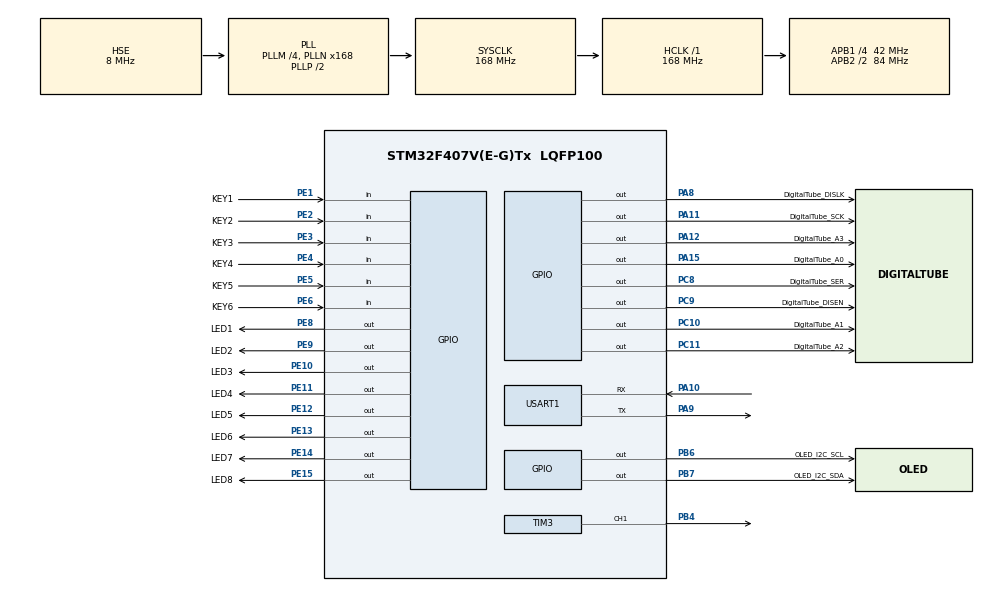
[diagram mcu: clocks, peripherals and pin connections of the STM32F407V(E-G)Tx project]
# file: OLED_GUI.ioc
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Dma.Request0=USART1_RX
Dma.USART1_RX.0.Direction=DMA_PERIPH_TO_MEMORY
Dma.USART1_RX.0.FIFOMode=DMA_FIFOMODE_DISABLE
Dma.USART1_RX.0.Instance=DMA2_Stream2
Dma.USART1_RX.0.MemDataAlignment=DMA_MDATAALIGN_BYTE
Dma.USART1_RX.0.MemInc=DMA_MINC_ENABLE
Dma.USART1_RX.0.Mode=DMA_NORMAL
Dma.USART1_RX.0.PeriphDataAlignment=DMA_PDATAALIGN_BYTE
Dma.USART1_RX.0.PeriphInc=DMA_PINC_DISABLE
Dma.USART1_RX.0.Priority=DMA_PRIORITY_LOW
FREERTOS.Tasks01=ledTask,24,256,StartLedTask,Default,NULL,Dynamic,NULL,NULL;keyTask,24,256,StartKeyTask,Default,NULL,Dynamic,NULL,NULL;beepTask,24,256,StartBeepTask,Default,NULL,Dynamic,NULL,NULL;digitaTubeTask,24,256,StartDigitaTubeTask,Default,NULL,Dynamic,NULL,NULL;GUITask,8,256,StartGUITask,Default,NULL,Dynamic,NULL,NULL;UartTask,24,256,StartUartTask,Default,NULL,Dynamic,NULL,NULL
FREERTOS.configENABLE_FPU=0
Mcu.Family=STM32F4
Mcu.Name=STM32F407V(E-G)Tx
Mcu.Package=LQFP100
NVIC.DMA2_Stream2_IRQn=true\:0\:0\:false\:false\:true\:true\:false\:true
NVIC.PriorityGroup=NVIC_PRIORITYGROUP_4
NVIC.TIM8_TRG_COM_TIM14_IRQn=true\:0\:0\:false\:false\:true\:false\:false\:true
NVIC.TimeBase=TIM8_TRG_COM_TIM14_IRQn
NVIC.TimeBaseIP=TIM14
NVIC.USART1_IRQn=true\:5\:0\:true\:false\:true\:false\:true\:true
PA10.Mode=Asynchronous
PA10.Signal=USART1_RX
PA11.GPIO_Label=DigitalTube_SCK
PA11.Signal=GPIO_Output
PA12.GPIO_Label=DigitalTube_A3
PA12.Signal=GPIO_Output
PA13.Mode=Serial_Wire
PA13.Signal=SYS_JTMS-SWDIO
PA14.Mode=Serial_Wire
PA14.Signal=SYS_JTCK-SWCLK
PA15.GPIO_Label=DigitalTube_A0
PA15.Signal=GPIO_Output
PA8.GPIO_Label=DigitalTube_DISLK
PA8.Signal=GPIO_Output
PA9.Mode=Asynchronous
PA9.Signal=USART1_TX
PB4.Signal=S_TIM3_CH1
PB6.GPIO_Label=OLED_I2C_SCL
PB6.Signal=GPIO_Output
PB7.GPIO_Label=OLED_I2C_SDA
PB7.Signal=GPIO_Output
PC10.GPIO_Label=DigitalTube_A1
PC10.Signal=GPIO_Output
PC11.GPIO_Label=DigitalTube_A2
PC11.Signal=GPIO_Output
PC8.GPIO_Label=DigitalTube_SER
PC8.Signal=GPIO_Output
PC9.GPIO_Label=DigitalTube_DISEN
PC9.Signal=GPIO_Output
PE1.GPIO_Label=KEY1
PE1.GPIO_PuPd=GPIO_PULLUP
PE1.Signal=GPIO_Input
PE10.GPIO_Label=LED3
PE10.PinState=GPIO_PIN_SET
PE10.Signal=GPIO_Output
PE11.GPIO_Label=LED4
PE11.PinState=GPIO_PIN_SET
PE11.Signal=GPIO_Output
PE12.GPIO_Label=LED5
PE12.PinState=GPIO_PIN_SET
PE12.Signal=GPIO_Output
PE13.GPIO_Label=LED6
PE13.PinState=GPIO_PIN_SET
PE13.Signal=GPIO_Output
PE14.GPIO_Label=LED7
PE14.PinState=GPIO_PIN_SET
PE14.Signal=GPIO_Output
PE15.GPIO_Label=LED8
PE15.PinState=GPIO_PIN_SET
PE15.Signal=GPIO_Output
PE2.GPIO_Label=KEY2
PE2.GPIO_PuPd=GPIO_PULLUP
PE2.Signal=GPIO_Input
PE3.GPIO_Label=KEY3
PE3.GPIO_PuPd=GPIO_PULLUP
PE3.Signal=GPIO_Input
PE4.GPIO_Label=KEY4
PE4.GPIO_PuPd=GPIO_PULLUP
PE4.Signal=GPIO_Input
PE5.GPIO_Label=KEY5
PE5.GPIO_PuPd=GPIO_PULLDOWN
PE5.Signal=GPIO_Input
PE6.GPIO_Label=KEY6
PE6.GPIO_PuPd=GPIO_PULLDOWN
PE6.Signal=GPIO_Input
PE8.GPIO_Label=LED1
PE8.PinState=GPIO_PIN_SET
PE8.Signal=GPIO_Output
PE9.GPIO_Label=LED2
PE9.PinState=GPIO_PIN_SET
PE9.Signal=GPIO_Output
PH0-OSC_IN.Mode=HSE-External-Oscillator
PH0-OSC_IN.Signal=RCC_OSC_IN
PH1-OSC_OUT.Mode=HSE-External-Oscillator
PH1-OSC_OUT.Signal=RCC_OSC_OUT
ProjectManager.HeapSize=0x200
ProjectManager.StackSize=0x400
ProjectManager.TargetToolchain=SW4STM32
RCC.48MHZClocksFreq_Value=84000000
RCC.AHBFreq_Value=168000000
RCC.APB1CLKDivider=RCC_HCLK_DIV4
RCC.APB1Freq_Value=42000000
RCC.APB1TimFreq_Value=84000000
RCC.APB2CLKDivider=RCC_HCLK_DIV2
RCC.APB2Freq_Value=84000000
RCC.APB2TimFreq_Value=168000000
RCC.CortexFreq_Value=168000000
RCC.HCLKFreq_Value=168000000
RCC.HSE_VALUE=8000000
RCC.HSI_VALUE=16000000
RCC.LSE_VALUE=32768
RCC.PLLM=4
RCC.PLLN=168
RCC.PLLSourceVirtual=RCC_PLLSOURCE_HSE
RCC.SYSCLKFreq_VALUE=168000000
RCC.SYSCLKSource=RCC_SYSCLKSOURCE_PLLCLK
RCC.VCOOutputFreq_Value=336000000
SH.S_TIM3_CH1.0=TIM3_CH1,PWM Generation1 CH1
TIM3.AutoReloadPreload=TIM_AUTORELOAD_PRELOAD_ENABLE
TIM3.Channel-PWM\ Generation1\ CH1=TIM_CHANNEL_1
TIM3.OCPolarity_1=TIM_OCPOLARITY_LOW
TIM3.Period=299
TIM3.Prescaler=83
TIM3.Pulse-PWM\ Generation1\ CH1=200
USART1.VirtualMode=VM_ASYNC
VP_FREERTOS_VS_CMSIS_V2.Mode=CMSIS_V2
VP_SYS_VS_tim14.Mode=TIM14
board=custom

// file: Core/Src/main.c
/* USER CODE BEGIN Header */
/**
  ******************************************************************************
  * @file           : main.c
  * @brief          : Main program body
  ******************************************************************************
  * @attention
  *
  * <h2><center>&copy; Copyright (c) 2020 STMicroelectronics.
  * All rights reserved.</center></h2>
  *
  * This software component is licensed by ST under BSD 3-Clause license,
  * the "License"; You may not use this file except in compliance with the
  * License. You may obtain a copy of the License at:
  *                        opensource.org/licenses/BSD-3-Clause
  *
  ******************************************************************************
  */
/* USER CODE END Header */
#include "main.h"
#include "cmsis_os.h"
#include "dma.h"
#include "tim.h"
#include "usart.h"
#include "gpio.h"

/* USER CODE BEGIN Includes */
#include <retarget.h>
#include "DigitalTube.h"
/* USER CODE END Includes */

void SystemClock_Config(void);
void MX_FREERTOS_Init(void);

int main(void)
{

  /* MCU Configuration--------------------------------------------------------*/

  /* Reset of all peripherals, Initializes the Flash interface and the Systick. */
  HAL_Init();

  /* Configure the system clock */
  SystemClock_Config();

  /* Initialize all configured peripherals */
  MX_GPIO_Init();
  MX_DMA_Init();
  MX_USART1_UART_Init();
  MX_TIM3_Init();
  /* USER CODE BEGIN 2 */
    RetargetInit(&huart1);
    Write595(0,0,0);

  /* USER CODE END 2 */

  /* Init scheduler */
  osKernelInitialize();  /* Call init function for freertos objects (in freertos.c) */
  MX_FREERTOS_Init();
  /* Start scheduler */
  osKernelStart();

  /* We should never get here as control is now taken by the scheduler */
  /* Infinite loop */
  while (1)
  {

  }
}

void SystemClock_Config(void)
{
  RCC_OscInitTypeDef RCC_OscInitStruct = {0};
  RCC_ClkInitTypeDef RCC_ClkInitStruct = {0};

  /** Configure the main internal regulator output voltage
  */
  __HAL_RCC_PWR_CLK_ENABLE();
  __HAL_PWR_VOLTAGESCALING_CONFIG(PWR_REGULATOR_VOLTAGE_SCALE1);
  /** Initializes the RCC Oscillators according to the specified parameters
  * in the RCC_OscInitTypeDef structure.
  */
  RCC_OscInitStruct.OscillatorType = RCC_OSCILLATORTYPE_HSE;
  RCC_OscInitStruct.HSEState = RCC_HSE_ON;
  RCC_OscInitStruct.PLL.PLLState = RCC_PLL_ON;
  RCC_OscInitStruct.PLL.PLLSource = RCC_PLLSOURCE_HSE;
  RCC_OscInitStruct.PLL.PLLM = 4;
  RCC_OscInitStruct.PLL.PLLN = 168;
  RCC_OscInitStruct.PLL.PLLP = RCC_PLLP_DIV2;
  RCC_OscInitStruct.PLL.PLLQ = 4;
  if (HAL_RCC_OscConfig(&RCC_OscInitStruct) != HAL_OK)
  {
    Error_Handler();
  }
  /** Initializes the CPU, AHB and APB buses clocks
  */
  RCC_ClkInitStruct.ClockType = RCC_CLOCKTYPE_HCLK|RCC_CLOCKTYPE_SYSCLK
                              |RCC_CLOCKTYPE_PCLK1|RCC_CLOCKTYPE_PCLK2;
  RCC_ClkInitStruct.SYSCLKSource = RCC_SYSCLKSOURCE_PLLCLK;
  RCC_ClkInitStruct.AHBCLKDivider = RCC_SYSCLK_DIV1;
  RCC_ClkInitStruct.APB1CLKDivider = RCC_HCLK_DIV4;
  RCC_ClkInitStruct.APB2CLKDivider = RCC_HCLK_DIV2;

  if (HAL_RCC_ClockConfig(&RCC_ClkInitStruct, FLASH_LATENCY_5) != HAL_OK)
  {
    Error_Handler();
  }
}

void HAL_TIM_PeriodElapsedCallback(TIM_HandleTypeDef *htim)
{
  if (htim->Instance == TIM14) {
    HAL_IncTick();
  }
}

void Error_Handler(void)
{
}

/************************ (C) COPYRIGHT STMicroelectronics *****END OF FILE****/

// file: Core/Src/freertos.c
/* USER CODE BEGIN Header */
/**
  ******************************************************************************
  * File Name          : freertos.c
  * Description        : Code for freertos applications
  ******************************************************************************
  * @attention
  *
  * <h2><center>&copy; Copyright (c) 2020 STMicroelectronics.
  * All rights reserved.</center></h2>
  *
  * This software component is licensed by ST under Ultimate Liberty license
  * SLA0044, the "License"; You may not use this file except in compliance with
  * the License. You may obtain a copy of the License at:
  *                             www.st.com/SLA0044
  *
  ******************************************************************************
  */
/* USER CODE END Header */

#include "FreeRTOS.h"
#include "task.h"
#include "main.h"
#include "cmsis_os.h"

/* USER CODE BEGIN Includes */
#include <stdio.h>
#include <stdbool.h>
#include <string.h>
#include "tim.h"
#include "LED.h"
#include "DigitalTube.h"
#include "GUI.h"
#include "usart.h"
/* USER CODE END Includes */

/* USER CODE BEGIN PTD */
extern GUI_CONST_STORAGE GUI_BITMAP bmCN_bilibiliB;
extern GUI_FLASH const GUI_FONT GUI_FontHZ_SimSun_12;
extern uint32_t recv_len;//接收数据长度
extern uint8_t dma_buf[MAX_BUF_LEN];//DMA接收缓存
/* USER CODE END PTD */

/* USER CODE BEGIN Variables */
uint8_t led_id = 1;
bool led_switch = true;
uint32_t led_control_time = 200;
uint8_t key_state = 0;
uint8_t key_buf = 0;
uint8_t beep_switch = 0;
int beep_time;
char data_buf[13][21];//要显示的数据
uint8_t data_page_max = 0;
uint8_t data_page = 0;
/* USER CODE END Variables */
/* Definitions for ledTask */
osThreadId_t ledTaskHandle;
const osThreadAttr_t ledTask_attributes = {
  .name = "ledTask",
  .priority = (osPriority_t) osPriorityNormal,
  .stack_size = 256 * 4
};
/* Definitions for keyTask */
osThreadId_t keyTaskHandle;
const osThreadAttr_t keyTask_attributes = {
  .name = "keyTask",
  .priority = (osPriority_t) osPriorityNormal,
  .stack_size = 256 * 4
};
/* Definitions for beepTask */
osThreadId_t beepTaskHandle;
const osThreadAttr_t beepTask_attributes = {
  .name = "beepTask",
  .priority = (osPriority_t) osPriorityNormal,
  .stack_size = 256 * 4
};
/* Definitions for digitaTubeTask */
osThreadId_t digitaTubeTaskHandle;
const osThreadAttr_t digitaTubeTask_attributes = {
  .name = "digitaTubeTask",
  .priority = (osPriority_t) osPriorityNormal,
  .stack_size = 256 * 4
};
/* Definitions for GUITask */
osThreadId_t GUITaskHandle;
const osThreadAttr_t GUITask_attributes = {
  .name = "GUITask",
  .priority = (osPriority_t) osPriorityLow,
  .stack_size = 256 * 4
};
/* Definitions for UartTask */
osThreadId_t UartTaskHandle;
const osThreadAttr_t UartTask_attributes = {
  .name = "UartTask",
  .priority = (osPriority_t) osPriorityNormal,
  .stack_size = 256 * 4
};

void StartLedTask(void *argument);
void StartKeyTask(void *argument);
void StartBeepTask(void *argument);
void StartDigitaTubeTask(void *argument);
void StartGUITask(void *argument);
void StartUartTask(void *argument);

void MX_FREERTOS_Init(void); /* (MISRA C 2004 rule 8.1) */

void MX_FREERTOS_Init(void) {

  /* Create the thread(s) */
  /* creation of ledTask */
  ledTaskHandle = osThreadNew(StartLedTask, NULL, &ledTask_attributes);

  /* creation of keyTask */
  keyTaskHandle = osThreadNew(StartKeyTask, NULL, &keyTask_attributes);

  /* creation of beepTask */
  beepTaskHandle = osThreadNew(StartBeepTask, NULL, &beepTask_attributes);

  /* creation of digitaTubeTask */
  digitaTubeTaskHandle = osThreadNew(StartDigitaTubeTask, NULL, &digitaTubeTask_attributes);

  /* creation of GUITask */
  GUITaskHandle = osThreadNew(StartGUITask, NULL, &GUITask_attributes);

  /* creation of UartTask */
  UartTaskHandle = osThreadNew(StartUartTask, NULL, &UartTask_attributes);

}

void StartLedTask(void *argument)
{
  /* USER CODE BEGIN StartLedTask */
  /* Infinite loop */
  for(;;)
  {
      if (led_switch){
          turnoffLED();
          selectLED(led_id);
          if(led_id==8){
              led_id = 1;
          }
          else{
              led_id++;
          }
          osDelay(led_control_time);
      }
      else {
          osDelay(1);
      }
  }
  /* USER CODE END StartLedTask */
}

void StartKeyTask(void *argument)
{
  /* USER CODE BEGIN StartKeyTask */
  /* Infinite loop */
  for(;;)
  {
      //扫描按键
      key_state = 0;
      if (HAL_GPIO_ReadPin(KEY1_GPIO_Port,KEY1_Pin)==GPIO_PIN_RESET){
          osDelay(10);
          if(HAL_GPIO_ReadPin(KEY1_GPIO_Port,KEY1_Pin)==GPIO_PIN_RESET)
          {
              key_state = 1;
          }
          while(HAL_GPIO_ReadPin(KEY1_GPIO_Port,KEY1_Pin)==GPIO_PIN_RESET)
          {
              osDelay(1);
          }
      }
      else if (HAL_GPIO_ReadPin(KEY2_GPIO_Port,KEY2_Pin)==GPIO_PIN_RESET){
          osDelay(10);
          if(HAL_GPIO_ReadPin(KEY2_GPIO_Port,KEY2_Pin)==GPIO_PIN_RESET)
          {
              key_state = 2;
          }
          while(HAL_GPIO_ReadPin(KEY2_GPIO_Port,KEY2_Pin)==GPIO_PIN_RESET)
          {
              osDelay(1);
          }
      }
      else if (HAL_GPIO_ReadPin(KEY3_GPIO_Port,KEY3_Pin)==GPIO_PIN_RESET){
          osDelay(10);
          if(HAL_GPIO_ReadPin(KEY3_GPIO_Port,KEY3_Pin)==GPIO_PIN_RESET)
          {
              key_state = 3;
          }
          while(HAL_GPIO_ReadPin(KEY3_GPIO_Port,KEY3_Pin)==GPIO_PIN_RESET)
          {
              osDelay(1);
          }
      }
      else if (HAL_GPIO_ReadPin(KEY4_GPIO_Port,KEY4_Pin)==GPIO_PIN_RESET){
          osDelay(10);
          if(HAL_GPIO_ReadPin(KEY4_GPIO_Port,KEY4_Pin)==GPIO_PIN_RESET)
          {
              key_state = 4;
          }
          while(HAL_GPIO_ReadPin(KEY4_GPIO_Port,KEY4_Pin)==GPIO_PIN_RESET)
          {
              osDelay(1);
          }
      }
      else if (HAL_GPIO_ReadPin(KEY5_GPIO_Port,KEY5_Pin)==GPIO_PIN_SET){
          osDelay(10);
          if(HAL_GPIO_ReadPin(KEY5_GPIO_Port,KEY5_Pin)==GPIO_PIN_SET)
          {
              key_state = 5;
          }
          while(HAL_GPIO_ReadPin(KEY5_GPIO_Port,KEY5_Pin)==GPIO_PIN_SET)
          {
              osDelay(1);
          }
      }
      else if (HAL_GPIO_ReadPin(KEY6_GPIO_Port,KEY6_Pin)==GPIO_PIN_SET){
          osDelay(10);
          if(HAL_GPIO_ReadPin(KEY6_GPIO_Port,KEY6_Pin)==GPIO_PIN_SET)
          {
              key_state = 6;
          }
          while(HAL_GPIO_ReadPin(KEY6_GPIO_Port,KEY6_Pin)==GPIO_PIN_SET)
          {
              osDelay(1);
          }
      }
      //按键触发控制
      switch (key_state) {
          case 1:
              key_buf = 1;
              break;

          case 2:
              key_buf = 2;
              break;

          case 3:
              key_buf = 3;
              break;

          case 4:
              key_buf = 4;
              break;

          case 5:
              key_buf = 5;
              break;

          case 6:
              key_buf = 6;
              break;

          default:
              break;
      }

      osDelay(1);
  }
  /* USER CODE END StartKeyTask */
}

void StartBeepTask(void *argument)
{
  /* USER CODE BEGIN StartBeepTask */
  uint32_t beep_time_tick = 0;
  /* Infinite loop */
  for(;;)
  {
      if (beep_switch == 1) {
          HAL_TIM_PWM_Start(&htim3, TIM_CHANNEL_1);//使能输出
          beep_time_tick = osKernelGetTickCount();
          beep_switch = 0;
      }
      else if (beep_switch == 2){
          HAL_TIM_PWM_Stop(&htim3, TIM_CHANNEL_1);//失能输出
          beep_time = osKernelGetTickCount() - beep_time_tick;
          beep_time_tick = 0;
          beep_switch = 0;
      }

      osDelay(1);
  }
  /* USER CODE END StartBeepTask */
}

void StartDigitaTubeTask(void *argument)
{
  /* USER CODE BEGIN StartDigitaTubeTask */
  /* Infinite loop */
  for(;;)
  {
      Write595(0,key_buf,0);
      osDelay(1);
  }
  /* USER CODE END StartDigitaTubeTask */
}

void StartGUITask(void *argument)
{
  /* USER CODE BEGIN StartGUITask */
    uint8_t menu;
    uint16_t beep_tune = 300;
    char beep_time_show[20];

    GUI_Init();
    GUI_DrawBitmap(&bmCN_bilibiliB, 0, 0);
    GUI_Update();//刷新显示
    osDelay(2000);
    GUI_Clear();

    GUI_SetFont(&GUI_FontHZ_SimSun_12);
    GUI_DispString("学号姓名界面\n");
    GUI_DispStringAt("学号：18042209\n", 0, 20);
    GUI_DispString("姓名：陈俊煜\n");
    GUI_DispString("课程：嵌入式系统实验\n");
    GUI_Update();//刷新显示
    osDelay(2000);
    menu = 2;//进入主菜单
  /* Infinite loop */
  for(;;)
  {
      if (menu == 1) {//学号姓名显示
          GUI_Clear();
          GUI_DispStringAt("学号姓名界面\n", 0, 0);
          GUI_DispStringAt("学号：18042209\n", 0, 20);
          GUI_DispString("姓名：陈俊煜\n");
          GUI_DispString("课程：嵌入式系统实验\n");
          GUI_Update();//刷新显示
          osDelay(2000);
          menu = 2;//进入主菜单
      }
      if (menu == 2) {//主菜单下
          GUI_Clear();
          GUI_DispStringAt("主菜单\n", 0, 0);
          GUI_DispStringAt("SW1:流水灯测试\n", 0, 16);
          GUI_DispString("SW2:按键测试\n");
          GUI_DispString("SW3:蜂鸣器测试\n");
          GUI_DispString("SW4:串口数据显示\n");
          GUI_Update();//刷新显示

          switch (key_buf) {
              case 1://流水灯测试
                  menu = 3;
                  key_buf = 0;
                  break;

              case 2://按键测试
                  menu = 4;
                  key_buf = 0;
                  break;

              case 3://蜂鸣器测试
                  menu = 5;
                  key_buf = 0;
                  break;

              case 4://串口数据显示功能
                  menu = 6;
                  key_buf = 0;
                  data_page = 1;
                  break;

              default:
                  break;
          }
      }
      if (menu == 3) {//流水灯测试功能
          GUI_Clear();
          GUI_DispStringAt("流水灯测试\n", 0, 0);
          GUI_DispStringAt("SW5:返回学号姓名界面\n", 0, 40);
          GUI_DispString("SW6:返回主菜单\n");
          GUI_DispStringAt("LED:\n", 0, 20);
          GUI_FillRect(30 + (led_id - 1) * 8, 23, 30 + led_id * 8, 30);
          GUI_Update();//刷新显示

          switch (key_buf) {
              case 5://返回学号姓名界面
                  menu = 1;
                  key_buf = 0;
                  break;

              case 6://返回主菜单
                  menu = 2;
                  key_buf = 0;
                  break;

              default:
                  break;
          }
      }
      if (menu == 4) {//按键测试功能
          GUI_Clear();
          GUI_DispStringAt("按键测试\n", 0, 0);
          GUI_DispStringAt("SW5:返回学号姓名界面\n", 0, 40);
          GUI_DispString("SW6:返回主菜单\n");
          GUI_DispStringAt("KEY: 1 2 3 4 5 6\n", 0, 15);
          if(key_buf != 0){
              GUI_FillCircle(32 + 12 * (key_buf - 1), 31, 3);
          }
          GUI_Update();//刷新显示

          switch (key_buf) {
              case 5://返回学号姓名界面
                  menu = 1;
                  key_buf = 0;
                  break;

              case 6://返回主菜单
                  menu = 2;
                  key_buf = 0;
                  break;

              default:
                  break;
          }
      }
      if (menu == 5) {//蜂鸣器测试功能
          GUI_Clear();
          GUI_DispStringAt("蜂鸣器测试\n", 0, 0);
          GUI_DispStringAt("SW5:返回学号姓名界面\n", 0, 40);
          GUI_DispString("SW6:返回主菜单\n");
          GUI_DispStringAt("BEEP Time:", 0, 15);
          sprintf(beep_time_show, "%d", beep_time);
          GUI_DispStringAt(beep_time_show, 65, 15);
          GUI_DispStringAt("ms\n", 100, 15);
          GUI_Update();//刷新显示

          switch (key_buf) {
              case 1://启动蜂鸣器
                  beep_switch = 1;
                  key_buf = 0;
                  break;

              case 2://停止蜂鸣器
                  beep_switch = 2;
                  key_buf = 0;
                  break;

              case 3://调节音调 变低沉
                  if (beep_tune < 600) {
                      beep_tune += 10;
                  }
                  __HAL_TIM_SET_AUTORELOAD(&htim3, beep_tune);
                  key_buf = 0;
                  break;

              case 4://调节音调 变尖锐
                  if (beep_tune > 250) {
                      beep_tune -= 10;
                  }
                  __HAL_TIM_SET_AUTORELOAD(&htim3, beep_tune);
                  key_buf = 0;
                  break;

              case 5://返回学号姓名界面
                  menu = 1;
                  key_buf = 0;
                  break;

              case 6://返回主菜单
                  menu = 2;
                  key_buf = 0;
                  break;

              default:
                  break;
          }
      }
      if (menu == 6) {//串口数据显示功能
          GUI_Clear();
          GUI_DispStringAt("串口数据显示\n", 0, 0);
          GUI_DispStringAt("SW5:返回学号姓名界面\n", 0, 40);
          GUI_DispString("SW6:返回主菜单\n");
          char show_data[10] = {0};
          sprintf(show_data, "%d / %d", data_page, data_page_max/2);
          GUI_DispStringAt(show_data, 95, 0);
          GUI_DispStringAt(data_buf[data_page * 2 - 2], 0, 15);
          GUI_DispStringAt(data_buf[data_page * 2 - 1], 0, 25);
          GUI_Update();//刷新显示

          switch (key_buf) {
              case 1:
                  if (data_page > 1){
                      data_page--;
                  }
                  key_buf = 0;
                  break;

              case 2:
                  if(data_page < data_page_max / 2 + data_page_max % 2){
                      data_page++;
                  }
                  key_buf = 0;
                  break;

              case 5://返回学号姓名界面
                  menu = 1;
                  key_buf = 0;
                  break;

              case 6://返回主菜单
                  menu = 2;
                  key_buf = 0;
                  break;

              default:
                  break;
          }
      }
      osDelay(1);
  }
  /* USER CODE END StartGUITask */
}

void StartUartTask(void *argument)
{
  /* USER CODE BEGIN StartUartTask */
    __HAL_UART_ENABLE_IT(&huart1, UART_IT_IDLE);//使能idle中断
    HAL_UART_Receive_DMA(&huart1, dma_buf, MAX_BUF_LEN);
  /* Infinite loop */
  for(;;)
  {
      if(recv_len > 0) {
//          printf("%s", dma_buf);
          data_page_max = 0;
          uint8_t j = 0;
          for (int i = 0; i < recv_len; ++i) {
              data_buf[data_page_max][j] = dma_buf[i];
              j++;
              if(dma_buf[i] == '\n'){
                  data_page_max++;
                  j = 0;
              }
          }
          recv_len = 0;
      }
      osDelay(1);
  }
  /* USER CODE END StartUartTask */
}

/************************ (C) COPYRIGHT STMicroelectronics *****END OF FILE****/
